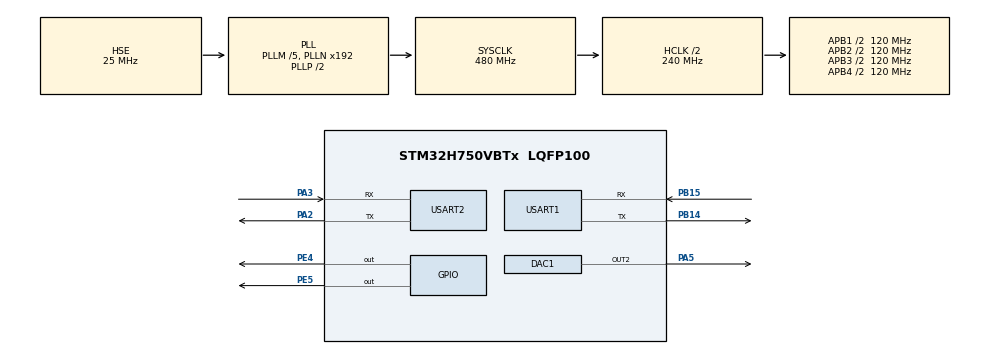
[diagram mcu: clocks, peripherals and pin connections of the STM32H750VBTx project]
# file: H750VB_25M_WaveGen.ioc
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DAC1.DAC2_OutputBuffer-DAC_OUT2=DAC_OUTPUTBUFFER_DISABLE
DAC1.DAC_Channel-DAC_OUT2=DAC_CHANNEL_2
Dma.Request0=TIM2_UP
Dma.TIM2_UP.0.Direction=DMA_MEMORY_TO_PERIPH
Dma.TIM2_UP.0.EventEnable=DISABLE
Dma.TIM2_UP.0.FIFOMode=DMA_FIFOMODE_DISABLE
Dma.TIM2_UP.0.Instance=DMA1_Stream0
Dma.TIM2_UP.0.MemDataAlignment=DMA_MDATAALIGN_WORD
Dma.TIM2_UP.0.MemInc=DMA_MINC_ENABLE
Dma.TIM2_UP.0.Mode=DMA_NORMAL
Dma.TIM2_UP.0.PeriphDataAlignment=DMA_PDATAALIGN_WORD
Dma.TIM2_UP.0.PeriphInc=DMA_PINC_DISABLE
Dma.TIM2_UP.0.Polarity=HAL_DMAMUX_REQ_GEN_RISING
Dma.TIM2_UP.0.Priority=DMA_PRIORITY_HIGH
Dma.TIM2_UP.0.RequestNumber=1
Dma.TIM2_UP.0.SignalID=NONE
Dma.TIM2_UP.0.SyncEnable=DISABLE
Dma.TIM2_UP.0.SyncPolarity=HAL_DMAMUX_SYNC_NO_EVENT
Dma.TIM2_UP.0.SyncRequestNumber=1
Dma.TIM2_UP.0.SyncSignalID=NONE
Mcu.Family=STM32H7
Mcu.Name=STM32H750VBTx
Mcu.Package=LQFP100
NVIC.DMA1_Stream0_IRQn=true\:0\:0\:false\:false\:true\:false\:true
NVIC.PriorityGroup=NVIC_PRIORITYGROUP_4
NVIC.USART1_IRQn=true\:0\:0\:false\:false\:true\:true\:true
NVIC.USART2_IRQn=true\:0\:0\:false\:false\:true\:true\:true
PA13\ (JTMS/SWDIO).Mode=Serial_Wire
PA13\ (JTMS/SWDIO).Signal=DEBUG_JTMS-SWDIO
PA14\ (JTCK/SWCLK).Mode=Serial_Wire
PA14\ (JTCK/SWCLK).Signal=DEBUG_JTCK-SWCLK
PA2.Mode=Asynchronous
PA2.Signal=USART2_TX
PA3.Mode=Asynchronous
PA3.Signal=USART2_RX
PA5.Signal=COMP_DAC12_group
PB14.Mode=Asynchronous
PB14.Signal=USART1_TX
PB15.Mode=Asynchronous
PB15.Signal=USART1_RX
PC14-OSC32_IN\ (OSC32_IN).Mode=LSE-External-Oscillator
PC14-OSC32_IN\ (OSC32_IN).Signal=RCC_OSC32_IN
PC15-OSC32_OUT\ (OSC32_OUT).Mode=LSE-External-Oscillator
PC15-OSC32_OUT\ (OSC32_OUT).Signal=RCC_OSC32_OUT
PE4.GPIO_ModeDefaultOutputPP=GPIO_MODE_OUTPUT_PP
PE4.GPIO_PuPd=GPIO_PULLUP
PE4.GPIO_Speed=GPIO_SPEED_FREQ_VERY_HIGH
PE4.PinState=GPIO_PIN_SET
PE4.Signal=GPIO_Output
PE5.GPIO_ModeDefaultOutputPP=GPIO_MODE_OUTPUT_PP
PE5.GPIO_PuPd=GPIO_PULLUP
PE5.GPIO_Speed=GPIO_SPEED_FREQ_VERY_HIGH
PE5.PinState=GPIO_PIN_SET
PE5.Signal=GPIO_Output
PH0-OSC_IN\ (PH0).Mode=HSE-External-Oscillator
PH0-OSC_IN\ (PH0).Signal=RCC_OSC_IN
PH1-OSC_OUT\ (PH1).Mode=HSE-External-Oscillator
PH1-OSC_OUT\ (PH1).Signal=RCC_OSC_OUT
ProjectManager.HeapSize=0x200
ProjectManager.StackSize=0x400
ProjectManager.TargetToolchain=MDK-ARM V5.27
RCC.ADCFreq_Value=50390625
RCC.APB1Freq_Value=120000000
RCC.APB2Freq_Value=120000000
RCC.APB3Freq_Value=120000000
RCC.APB4Freq_Value=120000000
RCC.CortexFreq_Value=480000000
RCC.D1PPRE=RCC_APB3_DIV2
RCC.D2PPRE1=RCC_APB1_DIV2
RCC.D2PPRE2=RCC_APB2_DIV2
RCC.D3PPRE=RCC_APB4_DIV2
RCC.DIVM1=5
RCC.DIVN1=192
RCC.HCLKFreq_Value=240000000
RCC.HPRE=RCC_HCLK_DIV2
RCC.PLLFRACN=0
RCC.PLLSourceVirtual=RCC_PLLSOURCE_HSE
RCC.SYSCLKFreq_VALUE=480000000
RCC.SYSCLKSource=RCC_SYSCLKSOURCE_PLLCLK
RCC.USBFreq_Value=480000000
SH.COMP_DAC12_group.0=DAC1_OUT2,DAC_OUT2
USART1.VirtualMode-Asynchronous=VM_ASYNC
USART2.VirtualMode-Asynchronous=VM_ASYNC
VP_TIM2_VS_ClockSourceINT.Mode=Internal
board=custom

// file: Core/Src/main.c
/* USER CODE BEGIN Header */
/**
  ******************************************************************************
  * @file           : main.c
  * @brief          : Main program body
  ******************************************************************************
  * @attention
  *
  * <h2><center>&copy; Copyright (c) 2020 STMicroelectronics.
  * All rights reserved.</center></h2>
  *
  * This software component is licensed by ST under BSD 3-Clause license,
  * the "License"; You may not use this file except in compliance with the
  * License. You may obtain a copy of the License at:
  *                        opensource.org/licenses/BSD-3-Clause
  *
  ******************************************************************************
  */
/* USER CODE END Header */
#include "main.h"
#include "dac.h"
#include "dma.h"
#include "tim.h"
#include "usart.h"
#include "gpio.h"

/* USER CODE BEGIN Includes */
#include "DELAY/delay.h"
#include "WAVEGEN/wavegen.h"
#include "USART/myusart1.h"
#include "USART/myusart2.h"
/* USER CODE END Includes */

/* USER CODE BEGIN PV */
uint8_t buf[128];
WaveGen_WaveType currType;
uint32_t currVpp = 3000, currFreq=10000;
/* USER CODE END PV */

void SystemClock_Config(void);

/* USER CODE BEGIN 0 */
/*
uint64_t searchFreqSolution(uint32_t freq)
{
  uint32_t i, start;
  for(i = start;i< start+50;i++)
  {

  }
}*/
uint16_t vppCompensate(uint32_t vpp)
{
  return vpp;
  //if(3000)
    //return 20;
  //return 1*vpp;
}
void setWave(uint32_t vpp, uint32_t freq, WaveGen_WaveType type)
{
  currType = type;
  currFreq = freq;
  currVpp=vpp;
  WaveGen_setDataBuffer(type, vppCompensate(vpp), WAVEGEN_BUFFER_MAX_SIZE);
  if(type==WAVEGEN_WAVETYPE_SQUARE_PWM)
  {
    WaveGen_setTIMArr((uint32_t)(240000000.0/freq+0.5)-1);
  }
  else
  {
    WaveGen_setTIMArr(((uint32_t)240000000.0/freq/WAVEGEN_BUFFER_MAX_SIZE+0.5)-1);
  }
  WaveGen_setPWMState(type==WAVEGEN_WAVETYPE_SQUARE_PWM);
}
/* USER CODE END 0 */

int main(void)
{
  /* USER CODE BEGIN 1 */
  uint8_t state = 2;
  /* USER CODE END 1 */

  /* MCU Configuration--------------------------------------------------------*/

  /* Reset of all peripherals, Initializes the Flash interface and the Systick. */
  HAL_Init();

  /* Configure the system clock */
  SystemClock_Config();

  /* Initialize all configured peripherals */
  MX_GPIO_Init();
  MX_DMA_Init();
  MX_USART1_UART_Init();
  MX_DAC1_Init();
  MX_TIM2_Init();
  MX_USART2_UART_Init();
  /* USER CODE BEGIN 2 */
  Delay_Init(480);

  WaveGen_TimerInit();
  WaveGen_DACInit();
  WaveGen_DMAInit();

  MyUSART1_Init(&huart1);
  MyUSART2_Init(&huart2);

  WaveGen_setDataBuffer(WAVEGEN_WAVETYPE_SINE, 4095, WAVEGEN_BUFFER_MAX_SIZE);
  WaveGen_setTIMArr(74);

  /* USER CODE END 2 */

  /* Infinite loop */
  while (1)
  {

    /* USER CODE BEGIN 3 */
    Delay_ms(200);
    if(MyUSART2_ReadUntil(buf,0x5A))
    {
      if(buf[0]==0x01)
      {
        uint32_t freq, vpp;
        freq = *(uint32_t*)(buf+1);
        vpp = *(uint32_t*)(buf+5);
        setWave(vpp, freq, currType);
      }
      else
        setWave(currVpp, currFreq, buf[0]);
    }
  }
  /* USER CODE END 3 */
}

void SystemClock_Config(void)
{
  RCC_OscInitTypeDef RCC_OscInitStruct = {0};
  RCC_ClkInitTypeDef RCC_ClkInitStruct = {0};

  /** Supply configuration update enable
  */
  HAL_PWREx_ConfigSupply(PWR_LDO_SUPPLY);
  /** Configure the main internal regulator output voltage
  */
  __HAL_PWR_VOLTAGESCALING_CONFIG(PWR_REGULATOR_VOLTAGE_SCALE0);

  while(!__HAL_PWR_GET_FLAG(PWR_FLAG_VOSRDY)) {}
  /** Initializes the RCC Oscillators according to the specified parameters
  * in the RCC_OscInitTypeDef structure.
  */
  RCC_OscInitStruct.OscillatorType = RCC_OSCILLATORTYPE_HSE;
  RCC_OscInitStruct.HSEState = RCC_HSE_ON;
  RCC_OscInitStruct.PLL.PLLState = RCC_PLL_ON;
  RCC_OscInitStruct.PLL.PLLSource = RCC_PLLSOURCE_HSE;
  RCC_OscInitStruct.PLL.PLLM = 5;
  RCC_OscInitStruct.PLL.PLLN = 192;
  RCC_OscInitStruct.PLL.PLLP = 2;
  RCC_OscInitStruct.PLL.PLLQ = 2;
  RCC_OscInitStruct.PLL.PLLR = 2;
  RCC_OscInitStruct.PLL.PLLRGE = RCC_PLL1VCIRANGE_2;
  RCC_OscInitStruct.PLL.PLLVCOSEL = RCC_PLL1VCOWIDE;
  RCC_OscInitStruct.PLL.PLLFRACN = 0;
  if (HAL_RCC_OscConfig(&RCC_OscInitStruct) != HAL_OK)
  {
    Error_Handler();
  }
  /** Initializes the CPU, AHB and APB buses clocks
  */
  RCC_ClkInitStruct.ClockType = RCC_CLOCKTYPE_HCLK|RCC_CLOCKTYPE_SYSCLK
                              |RCC_CLOCKTYPE_PCLK1|RCC_CLOCKTYPE_PCLK2
                              |RCC_CLOCKTYPE_D3PCLK1|RCC_CLOCKTYPE_D1PCLK1;
  RCC_ClkInitStruct.SYSCLKSource = RCC_SYSCLKSOURCE_PLLCLK;
  RCC_ClkInitStruct.SYSCLKDivider = RCC_SYSCLK_DIV1;
  RCC_ClkInitStruct.AHBCLKDivider = RCC_HCLK_DIV2;
  RCC_ClkInitStruct.APB3CLKDivider = RCC_APB3_DIV2;
  RCC_ClkInitStruct.APB1CLKDivider = RCC_APB1_DIV2;
  RCC_ClkInitStruct.APB2CLKDivider = RCC_APB2_DIV2;
  RCC_ClkInitStruct.APB4CLKDivider = RCC_APB4_DIV2;

  if (HAL_RCC_ClockConfig(&RCC_ClkInitStruct, FLASH_LATENCY_4) != HAL_OK)
  {
    Error_Handler();
  }
}

void Error_Handler(void)
{
}

/************************ (C) COPYRIGHT STMicroelectronics *****END OF FILE****/
